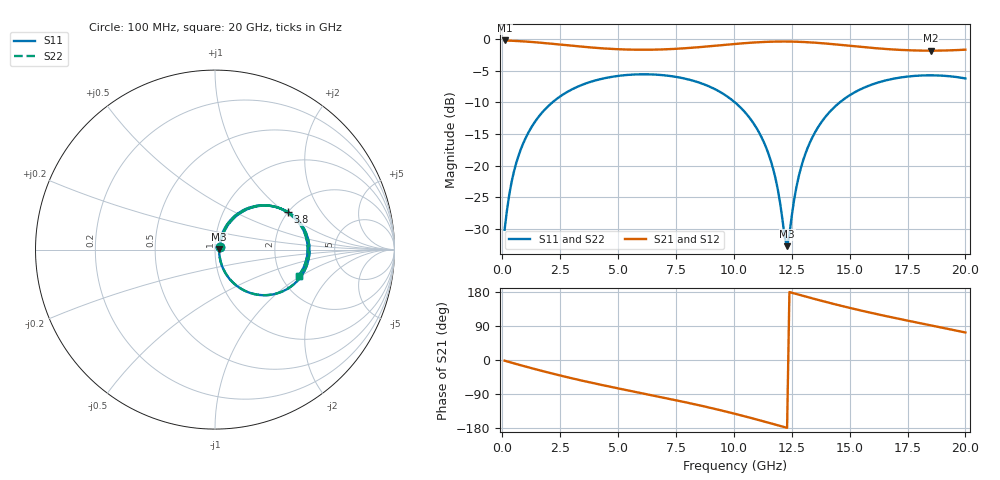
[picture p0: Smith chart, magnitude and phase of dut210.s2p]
! Touchstone file exported from HFSS 2026.1.0
!  File:  C:/ffzhzh/LocalFiles/Ansys_Project_Files/temp_train_TSV_RDL_210_1783061631_36532.aedt
!  Generated:  03:10:17 PM Jul  3, 2026
!  Design:  TSV_RDL
!  Project:  temp_train_TSV_RDL_210_1783061631_36532
! Variables:
!  h_bsmrdl = 2.01um
!  h_ox = 20um
!  h_rdl = 5um
!  h_sub = 72.9um
!  h_tmrdl = 5.28um
!  h_tsv = 72.9um
!  h_via = 3um
!  l_bsmrdl = 983.26um
!  l_sub = 5014.95um
!  l_tmrdl = 377.75um
!  m_sub = 200um
!  pitch = 52.63um
!  r_tsv = 5.4um
!  s_tmrdl = 10um
!  w_bsmrdl = 27.66um
!  w_sub = 500um
!  w_tmrdl = 23.73um
!  x_tsv_center1 = 389.615um
!  x_tsv_center2 = 1400.535um
!  x_tsv_center3 = 1802.015um
!  x_tsv_center4 = 2812.935um
!  x_tsv_center5 = 3214.415um
!  x_tsv_center6 = 4225.335um
# GHz S MA R 50.000000
! Terminal data exported
! Port[1] = TM_RDL1_1_T1
! Port[2] = TM_RDL5_1_T1
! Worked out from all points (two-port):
!   200 points, 100 MHz to 20 GHz, reference 50 ohm
!   highest |S21| = -0.22 dB at 100 MHz (marker M1); lowest = -1.8 dB at 18.5 GHz (marker M2)
!   |S21| within 3 dB of the highest: start of sweep to end of sweep
!   lowest |S11| = -32.8 dB at 12.3 GHz (marker M3), VSWR 1.05, Z = 52.4 + j0.135 ohm
!   |S11| at or under -10 dB: start of sweep to 2.17 GHz; 10.04 GHz to 14.58 GHz (4.54 GHz wide, 36.9 % of centre)
!   |S22| runs from -32.6 to -5.6 dB; largest |S21 - S12| = 1.5e-14
!   S11 on the Smith chart (normalised r, x): 100 MHz: 1.05, +0.04; 3.8 GHz: 2.00, +1.06; 20 GHz: 2.49, -0.95
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0.1  0.03103 33.4  0.9745 -1.8  0.9745 -1.8  0.03103 33.4
! Gamma 0 0 0 0
! Port Impedance 50 0 50 0
0.3  0.05868 57.0  0.9714 -5.4  0.9714 -5.4  0.05868 57.0
0.5  0.08904 62.3  0.9677 -8.8  0.9677 -8.8  0.08904 62.3
1.1  0.1782 60.9  0.953 -18.9  0.953 -18.9  0.1782 61.0
2.1  0.3083 49.1  0.9191 -34.9  0.9191 -34.9  0.3083 49.1
3.5  0.4382 30.9  0.8679 -55.2  0.8679 -55.2  0.4382 30.9
3.8  0.4579 27.1  0.8584 -59.3  0.8584 -59.3  0.4579 27.1
5.3  0.5182 8.9  0.8269 -78.6  0.8269 -78.6  0.5182 8.9
6.8  0.5205 -8.9  0.8264 -97.3  0.8264 -97.3  0.5205 -8.8
8.6  0.446 -31.1  0.8653 -120.8  0.8653 -120.8  0.446 -31.0
10.1  0.3096 -51.1  0.9161 -142.8  0.9161 -142.8  0.3096 -51.0
10.9  0.2086 -61.5  0.9397 -155.6  0.9397 -155.6  0.2087 -61.3
11.5  0.1231 -66.8  0.9514 -165.5  0.9514 -165.5  0.1232 -66.5
11.9  0.06449 -63.2  0.9553 -172.3  0.9553 -172.3  0.06468 -62.8
12.2  0.02686 -30.3  0.9559 -177.4  0.9559 -177.4  0.02731 -29.7
12.3  0.02302 3.2  0.9556 -179.1  0.9556 -179.1  0.02355 3.1
12.8  0.08167 64.7  0.9509 172.5  0.9509 172.5  0.08182 64.4
13.4  0.1681 63.5  0.9386 162.5  0.9386 162.5  0.1682 63.3
14.7  0.329 47.4  0.8958 142.0  0.8958 142.0  0.329 47.3
16.7  0.4774 21.8  0.8309 114.2  0.8309 114.2  0.4775 21.7
18.5  0.5166 0.4  0.809 91.5  0.809 91.5  0.5166 0.4
20  0.4879 -17.3  0.8242 72.6  0.8242 72.6  0.488 -17.3
